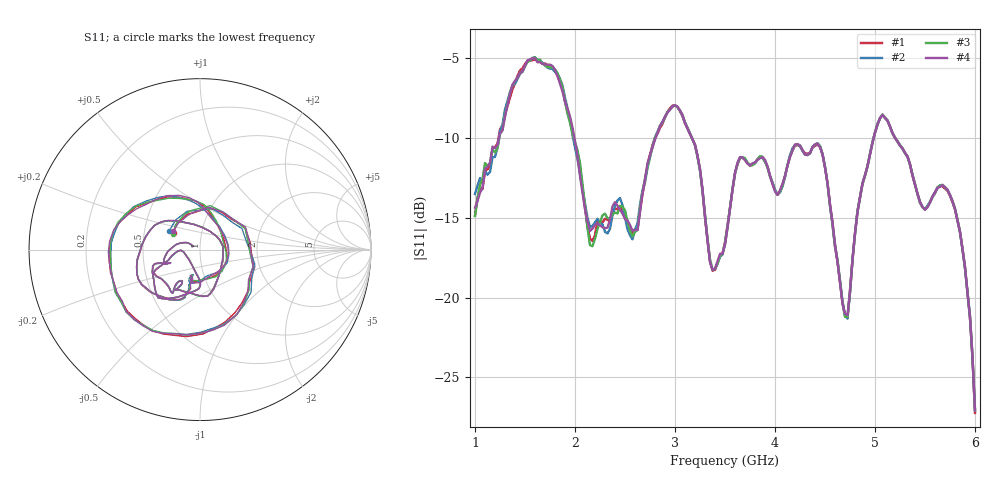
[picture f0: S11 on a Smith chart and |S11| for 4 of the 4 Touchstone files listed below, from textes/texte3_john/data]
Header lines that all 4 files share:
! SOL-corrected complex mean; no background subtraction; no window
# Hz S RI R 50
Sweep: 1 GHz to 6 GHz
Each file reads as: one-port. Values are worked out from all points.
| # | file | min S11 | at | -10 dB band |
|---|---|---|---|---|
| 1 | background.s1p | -27.2 dB | 6 GHz | 1.818 GHz wide |
| 2 | plate_50cm.s1p | -27.0 dB | 6 GHz | 1.816 GHz wide |
| 3 | plate_60cm.s1p | -27.1 dB | 6 GHz | 1.816 GHz wide |
| 4 | plate_70cm.s1p | -27.1 dB | 6 GHz | 1.819 GHz wide |
